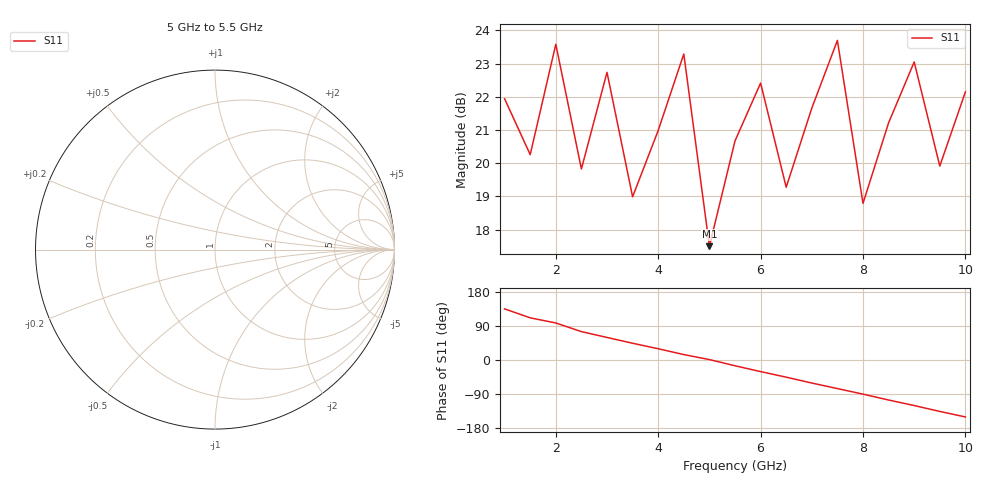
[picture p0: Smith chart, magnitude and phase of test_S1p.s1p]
! Random RF Single-Port S-Parameter File (S1P)
! Frequency Range: 1GHz ~ 10GHz, Step: 0.5GHz
! Format: Frequency(GHz) S11(Magnitude(dB)) S11(Phase(deg))
# Hz S MA R 50
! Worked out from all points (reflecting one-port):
!   19 points, 1 GHz to 10 GHz, reference 50 ohm
!   lowest |S11| = 17.5 dB at 5 GHz (marker M1)
!   phase of S11 starts at 135 deg and turns -285 deg over the sweep
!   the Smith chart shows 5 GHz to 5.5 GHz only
1e9  -12.5 -45.2
1.5e9  -10.3 -68.7
2e9  -15.1 -82.3
2.5e9  -9.8 -105.1
3e9  -13.7 -120.5
3.5e9  -8.9 -135.8
4e9  -11.2 -150.3
4.5e9  -14.6 -165.7
5e9  -7.5 -178.9
5.5e9  -10.8 -195.2
6e9  -13.2 -210.6
6.5e9  -9.2 -225.3
7e9  -12.1 -240.8
7.5e9  -15.3 -255.4
8e9  -8.7 -270.1
8.5e9  -11.5 -285.6
9e9  -14.2 -300.2
9.5e9  -9.9 -315.7
1e10  -12.8 -330.3
